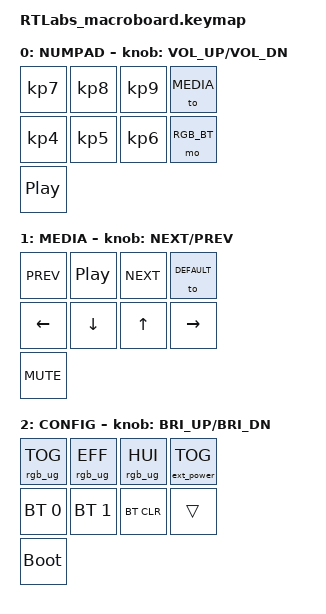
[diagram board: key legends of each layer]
#include <behaviors.dtsi>
#include <dt-bindings/zmk/keys.h>
#include <dt-bindings/zmk/rgb.h>
#include <dt-bindings/zmk/bt.h>
#include <dt-bindings/zmk/ext_power.h>
#include <dt-bindings/zmk/outputs.h>

/* Define Layer Indices */
#define DEFAULT 0
#define MEDIA   1
#define RGB_BT  2

/ {
    sensors {
        compatible = "zmk,keymap-sensors";
        sensors = <&encoder>;
        status = "okay";
    };

    keymap {
        compatible = "zmk,keymap";

        /* 
         * Layer 0: Default / Numpad & Quick Access
         * -------------------------------------------------------------
         * [SW2: 7]     [SW3: 8]     [SW4: 9]     [SW5: TO(MEDIA)]
         * [SW6: 4]     [SW7: 5]     [SW8: 6]     [SW9: MO(RGB_BT)]
         * [SW10 Encoder Push: Play/Pause]
         * Encoder Rotation: Volume Up / Volume Down
         */
        default_layer {
            display-name = "NUMPAD";
            bindings = <
                &kp KP_N7    &kp KP_N8    &kp KP_N9    &to MEDIA
                &kp KP_N4    &kp KP_N5    &kp KP_N6    &mo RGB_BT
                &kp C_PP
            >;
            sensor-bindings = <&inc_dec_kp C_VOL_UP C_VOL_DN>;
        };

        /* 
         * Layer 1: Media & Navigation
         * -------------------------------------------------------------
         * [SW2: Prev]  [SW3: Play]  [SW4: Next]  [SW5: TO(DEFAULT)]
         * [SW6: Left]  [SW7: Down]  [SW8: Up]    [SW9: Right]
         * [SW10 Encoder Push: Mute]
         * Encoder Rotation: Next Track / Previous Track
         */
        media_layer {
            display-name = "MEDIA";
            bindings = <
                &kp C_PREV   &kp C_PP     &kp C_NEXT   &to DEFAULT
                &kp LEFT     &kp DOWN     &kp UP       &kp RIGHT
                &kp C_MUTE
            >;
            sensor-bindings = <&inc_dec_kp C_NEXT C_PREV>;
        };

        /* 
         * Layer 2: RGB Underglow, Power & Bluetooth Controls
         * -------------------------------------------------------------
         * [SW2: RGB Tog]   [SW3: RGB Eff+]  [SW4: RGB Hue+]  [SW5: Ext Power / Output Tog]
         * [SW6: BT Sel 0]  [SW7: BT Sel 1]  [SW8: BT Clear]  [SW9: Trans (Hold)]
         * [SW10 Encoder Push: Enter Bootloader]
         * Encoder Rotation: Brightness Up / Brightness Down
         */
        rgb_bt_layer {
            display-name = "CONFIG";
            bindings = <
                &rgb_ug RGB_TOG  &rgb_ug RGB_EFF  &rgb_ug RGB_HUI  &ext_power EP_TOG
                &bt BT_SEL 0     &bt BT_SEL 1     &bt BT_CLR       &trans
                &bootloader
            >;
            sensor-bindings = <&inc_dec_kp C_BRI_UP C_BRI_DN>;
        };
    };
};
